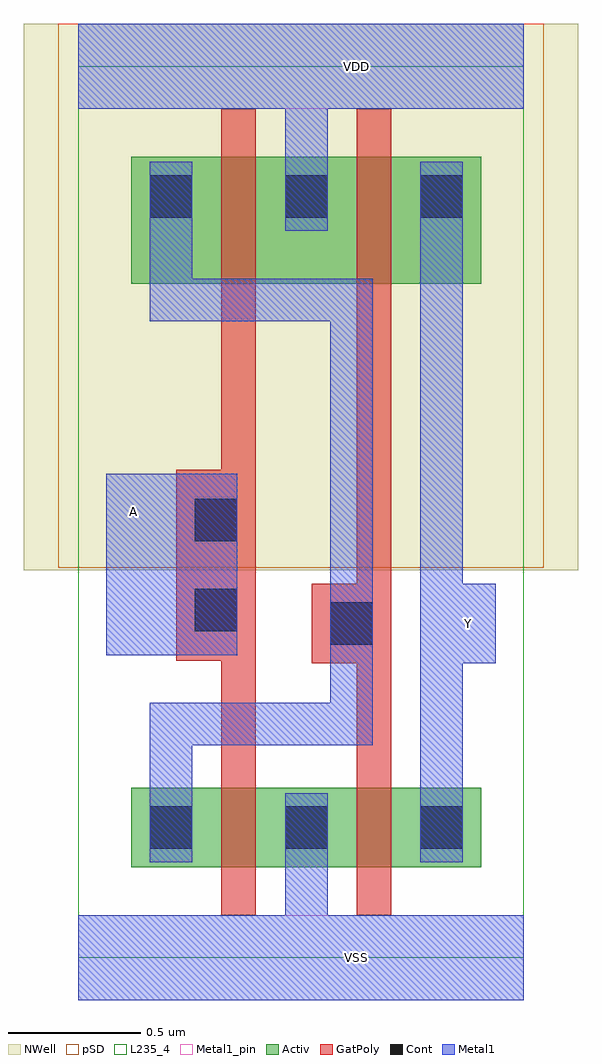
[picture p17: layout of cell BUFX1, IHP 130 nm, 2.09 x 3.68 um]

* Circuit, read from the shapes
.subckt BUFX1 A VDD VSS Y
XM1 VSS A n1 VSUBS sg13_lv_nmos w=0.3u l=0.13u
XM2 Y n1 VSS VSUBS sg13_lv_nmos w=0.3u l=0.13u
XM3 VDD A n1 n2 sg13_lv_pmos w=0.48u l=0.13u
XM4 Y n1 VDD n2 sg13_lv_pmos w=0.48u l=0.13u
.ends

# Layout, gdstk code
from math import pi, radians
import gdstk
lib = gdstk.Library(unit=1e-6, precision=1e-09)
def R(c, l, rs):  # rectangles x0, y0, x1, y1
    for r in rs: c.add(gdstk.rectangle(r[:2], r[2:], *l))
Activ = (1, 0)
GatPoly = (5, 0)
Cont = (6, 0)
Metal1 = (8, 0)
Metal1_pin = (8, 2)
pSD = (14, 0)
NWell = (31, 0)
L235_4 = (235, 4)

m1_gatpoly_cdns_76434123 = lib.new_cell('M1_GatPoly_CDNS_764341231940')
R(m1_gatpoly_cdns_76434123, GatPoly, [(-0.15,-0.15,0.15,0.15)])
R(m1_gatpoly_cdns_76434123, Cont, [(-0.08,-0.08,0.08,0.08)])
R(m1_gatpoly_cdns_76434123, Metal1, [(-0.13,-0.08,0.13,0.08)])

bufx1 = lib.new_cell('BUFX1')
R(bufx1, Activ, [(0.2,0.34,1.01,0.64), (0.71,0.34,1.52,0.64), (0.2,2.54,1.01,3.02), (0.71,2.54,1.52,3.02)])
R(bufx1, GatPoly, [(0.54,0.16,0.67,0.82), (1.05,0.16,1.18,0.82), (0.37,1.12,0.54,1.84), (0.54,2.36,0.67,3.2), (1.05,2.36,1.18,3.2)])
R(bufx1, Cont, [(0.27,0.41,0.43,0.57), (0.78,0.41,0.94,0.57), (0.78,0.41,0.94,0.57), (1.29,0.41,1.45,0.57), (0.44,1.23,0.6,1.39), (0.44,1.57,0.6,1.73), (0.27,2.79,0.43,2.95), (0.78,2.79,0.94,2.95), (0.78,2.79,0.94,2.95), (1.29,2.79,1.45,2.95)])
R(bufx1, Metal1, [(0,-0.16,1.68,0.16), (0.27,0.36,0.43,0.62), (0.78,0.36,0.94,0.62), (0.78,0.36,0.94,0.62), (1.29,0.36,1.45,0.62), (0.105,1.14,0.6,1.825), (0.27,2.74,0.43,3), (0.78,2.74,0.94,3), (0.78,2.74,0.94,3), (1.29,2.74,1.45,3), (0,3.2,1.68,3.52)])
R(bufx1, Metal1_pin, [(0,-0.16,1.68,0.16), (1.29,0.36,1.45,3), (1.29,1.11,1.575,1.41), (0.105,1.14,0.6,1.825), (0,3.2,1.68,3.52)])
R(bufx1, pSD, [(-0.075,1.47,1.755,3.52)])
R(bufx1, NWell, [(-0.205,1.46,1.885,3.52)])
R(bufx1, L235_4, [(0,0,1.68,3.36)])
bufx1.add(gdstk.FlexPath([(0.35,0.62),(0.35,0.88)], 0.16, ends=(0, 0.08), simple_path=True, layer=8, datatype=0))  # Metal1
bufx1.add(gdstk.FlexPath([(1.03,0.8),(1.03,2.48)], 0.16, ends=(0, 0.08), simple_path=True, layer=8, datatype=0))  # Metal1
bufx1.add(gdstk.FlexPath([(0.35,0.88),(1.03,0.88)], 0.16, ends="extended", simple_path=True, layer=8, datatype=0))  # Metal1
bufx1.add(gdstk.FlexPath([(1.03,2.48),(0.35,2.48)], 0.16, ends="extended", simple_path=True, layer=8, datatype=0))  # Metal1
bufx1.add(gdstk.FlexPath([(1.575,1.26),(1.44,1.26)], 0.3, ends=(0, 0.15), simple_path=True, layer=8, datatype=0))  # Metal1
bufx1.add(gdstk.FlexPath([(1.37,2.74),(1.37,0.62)], 0.16, ends="flush", simple_path=True, layer=8, datatype=0))  # Metal1
bufx1.add(gdstk.FlexPath([(0.35,2.48),(0.35,2.74)], 0.16, ends=(0.08, 0), simple_path=True, layer=8, datatype=0))  # Metal1
bufx1.add(gdstk.FlexPath([(0.86,0.36),(0.86,0.16)], 0.16, ends="flush", simple_path=True, layer=8, datatype=0))  # Metal1
bufx1.add(gdstk.FlexPath([(0.86,3),(0.86,3.2)], 0.16, ends="flush", simple_path=True, layer=8, datatype=0))  # Metal1
bufx1.add(gdstk.FlexPath([(1.115,2.36),(1.115,0.82)], 0.13, ends="flush", simple_path=True, layer=5, datatype=0))  # GatPoly
bufx1.add(gdstk.FlexPath([(0.605,2.36),(0.605,0.82)], 0.13, ends="flush", simple_path=True, layer=5, datatype=0))  # GatPoly
bufx1.add(gdstk.Reference(m1_gatpoly_cdns_76434123, (1.03,1.26), rotation=3*pi/2))
bufx1.add(gdstk.Label('VDD', (1.05,3.36), layer=8, texttype=25))
bufx1.add(gdstk.Label('VSS', (1.05,0), layer=8, texttype=25))
bufx1.add(gdstk.Label('Y', (1.47,1.26), layer=8, texttype=25))
bufx1.add(gdstk.Label('A', (0.21,1.68), layer=8, texttype=25))

lib.write_gds('BUFX1.gds')
